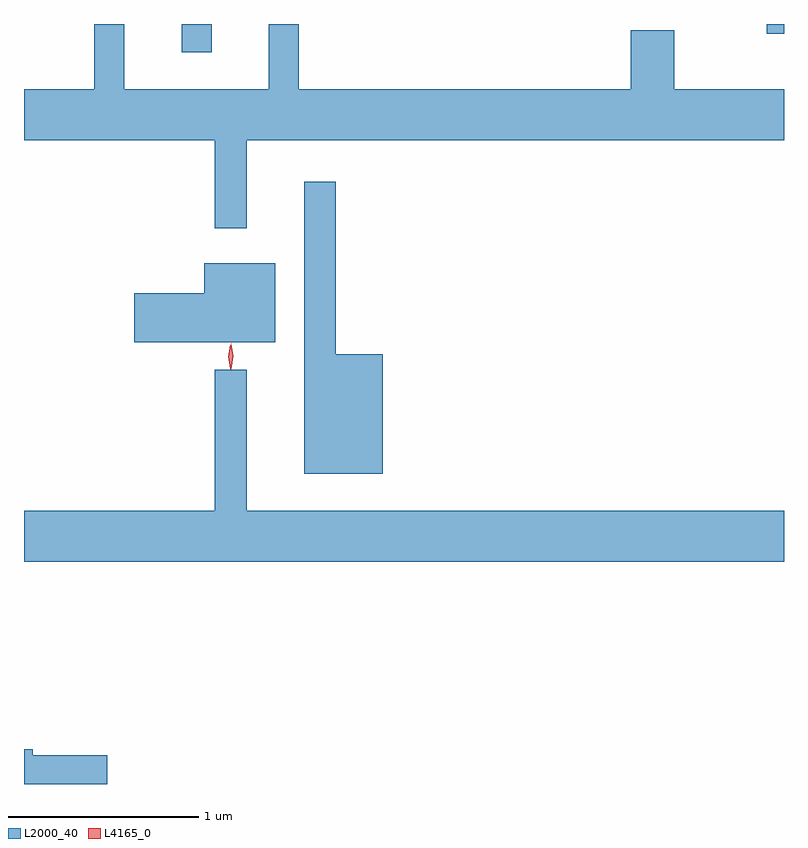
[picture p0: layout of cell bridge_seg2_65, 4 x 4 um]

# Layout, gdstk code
import gdstk
lib = gdstk.Library(unit=1e-6, precision=1e-09)
def R(c, l, rs):  # rectangles x0, y0, x1, y1
    for r in rs: c.add(gdstk.rectangle(r[:2], r[2:], *l))
def P(c, l, *ps):  # polygons
    for p in ps: c.add(gdstk.Polygon(p, *l))
L2000_40 = (2000, 40)
L4165_0 = (4165, 0)

bridge_seg2_65 = lib.new_cell('bridge_seg2_65')
R(bridge_seg2_65, L2000_40, [(1123.896,1104.278,1124.054,1104.427), (1126.976,1104.376,1127.067,1104.427)])
P(bridge_seg2_65, L2000_40, [(1127.067,1104.084),(1126.489,1104.084),(1126.489,1104.394),(1126.261,1104.394),(1126.261,1104.084),(1124.514,1104.084),(1124.514,1104.427),(1124.356,1104.427),(1124.356,1104.084),(1123.594,1104.084),(1123.594,1104.427),(1123.436,1104.427),(1123.436,1104.084),(1123.067,1104.084),(1123.067,1103.816),(1124.071,1103.816),(1124.071,1103.353),(1124.239,1103.353),(1124.239,1103.816),(1127.067,1103.816)],
  [(1124.954,1102.689),(1124.709,1102.689),(1124.709,1103.598),(1124.541,1103.598),(1124.541,1102.061),(1124.954,1102.061)],
  [(1124.389,1103.169),(1124.016,1103.169),(1124.016,1103.009),(1123.646,1103.009),(1123.646,1102.751),(1124.389,1102.751)],
  [(1127.067,1101.864),(1124.239,1101.864),(1124.239,1102.608),(1124.071,1102.608),(1124.071,1101.864),(1123.067,1101.864),(1123.067,1101.596),(1127.067,1101.596)],
  [(1123.504,1100.579),(1123.114,1100.579),(1123.114,1100.609),(1123.067,1100.609),(1123.067,1100.427),(1123.504,1100.427)])
P(bridge_seg2_65, L4165_0, [(1124.152,1102.613),(1124.152,1102.613),(1124.142,1102.676),(1124.152,1102.74),(1124.152,1102.74),(1124.153,1102.74),(1124.162,1102.676),(1124.153,1102.613)],
  [(1124.156,1102.61),(1124.148,1102.678),(1124.158,1102.745),(1124.158,1102.746),(1124.159,1102.745),(1124.168,1102.678),(1124.158,1102.61),(1124.157,1102.61)])

lib.write_gds('bridge_seg2_65.gds')
